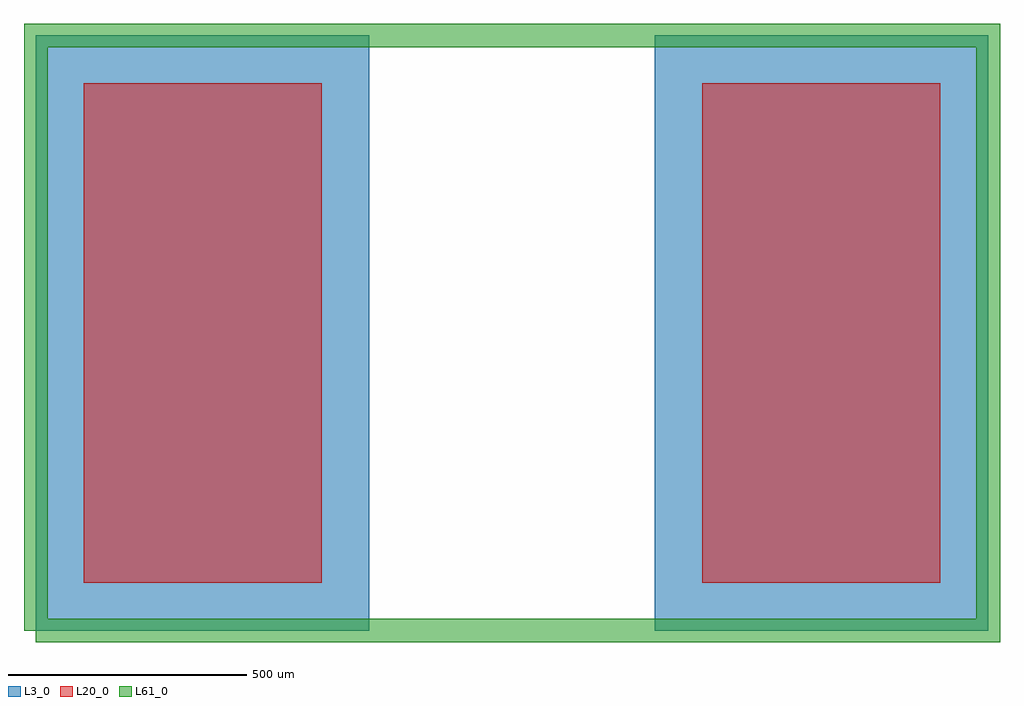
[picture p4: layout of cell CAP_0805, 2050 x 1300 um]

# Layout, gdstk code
import gdstk
lib = gdstk.Library(unit=1e-6, precision=1e-09)
def R(c, l, rs):  # rectangles x0, y0, x1, y1
    for r in rs: c.add(gdstk.rectangle(r[:2], r[2:], *l))
L3_0 = (3, 0)
L20_0 = (20, 0)
L61_0 = (61, 0)

cap_0805 = lib.new_cell('CAP_0805')
R(cap_0805, L3_0, [(0,0,700,1250), (1300,0,2000,1250)])
R(cap_0805, L20_0, [(100,100,600,1150), (1400,100,1900,1150)])
cap_0805.add(gdstk.FlexPath([(0,0),(2000,0),(2000,1250),(0,1250),(0,0)], 50, ends="flush", simple_path=True, layer=61, datatype=0))  # L61_0

lib.write_gds('CAP_0805.gds')
